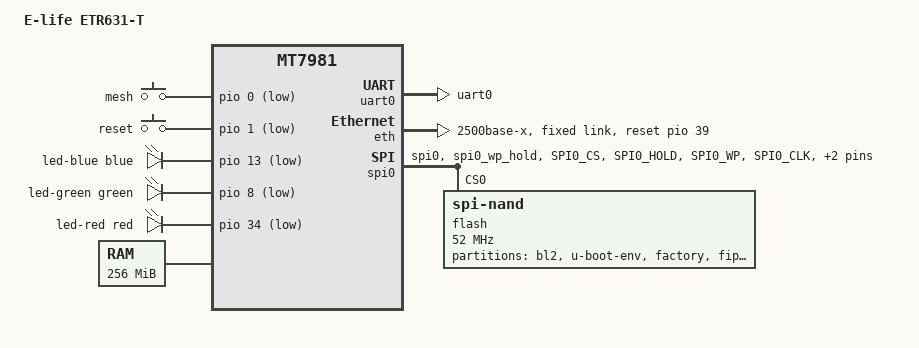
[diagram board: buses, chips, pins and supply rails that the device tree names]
// SPDX-License-Identifier: GPL-2.0

/dts-v1/;

#include "mt7981.dtsi"

#include <dt-bindings/gpio/gpio.h>
#include <dt-bindings/input/input.h>
#include <dt-bindings/leds/common.h>

/ {
	compatible = "e-life,etr631-t", "mediatek,mt7981";
	model = "E-life ETR631-T";

	chosen {
		stdout-path = &uart0;
		tick-timer = &timer0;
	};

	config {
		boot-btn1 = "reset";
		boot-btn2 = "mesh";
		boot-led1 = "green:status";
		boot-led2 = "red:status";
		bootcmd_1-1 = "tftp_load_initramfs_loop";
		bootcmd_1-2 = "tftp_restore_system_loop";
		bootcmd_1-3 = "config_netconsole";
		bootcmd_2-1 = "tftp_load_initramfs_loop";
		bootcmd_2-2 = "tftp_restore_system_loop";
		bootcmd_2-3 = "config_netconsole";
	};

	gpio-keys {
		compatible = "gpio-keys";

		button-mesh {
			label = "mesh";
			gpios = <&pio 0 GPIO_ACTIVE_LOW>;
			linux,code = <KEY_WPS_BUTTON>;
		};

		button-reset {
			label = "reset";
			gpios = <&pio 1 GPIO_ACTIVE_LOW>;
			linux,code = <KEY_RESTART>;
		};
	};

	gpio-leds {
		compatible = "gpio-leds";

		led-blue {
			color = <LED_COLOR_ID_BLUE>;
			function = LED_FUNCTION_STATUS;
			gpios = <&pio 13 GPIO_ACTIVE_LOW>;
			default-state = "off";
		};

		led-green {
			color = <LED_COLOR_ID_GREEN>;
			function = LED_FUNCTION_STATUS;
			gpios = <&pio 8 GPIO_ACTIVE_LOW>;
			default-state = "on";
		};

		led-red {
			color = <LED_COLOR_ID_RED>;
			function = LED_FUNCTION_STATUS;
			gpios = <&pio 34 GPIO_ACTIVE_LOW>;
			default-state = "off";
		};
	};

	memory@40000000 {
		device_type = "memory";
		reg = <0x40000000 0x10000000>;
	};
};

&uart0 {
	status = "okay";
	pinctrl-names = "default";
	pinctrl-0 = <&uart0_pins>;
};

&eth {
	status = "okay";
	mediatek,gmac-id = <0>;
	mediatek,switch = "mt7531";
	phy-mode = "2500base-x";
	reset-gpios = <&pio 39 GPIO_ACTIVE_HIGH>;

	fixed-link {
		speed = <2500>;
		full-duplex;
	};
};

&pio {
	spi0_pins: spi0-pins {
		mux {
			function = "flash";
			groups = "spi0", "spi0_wp_hold";
		};

		conf-pu {
			drive-strength = <MTK_DRIVE_4mA>;
			bias-pull-up = <MTK_PUPD_SET_R1R0_11>;
			pins = "SPI0_CS", "SPI0_HOLD", "SPI0_WP";
		};

		conf-pd {
			drive-strength = <MTK_DRIVE_4mA>;
			bias-pull-down = <MTK_PUPD_SET_R1R0_11>;
			pins = "SPI0_CLK", "SPI0_MOSI", "SPI0_MISO";
		};
	};

	uart0_pins: uart0-pins {
		mux {
			function = "uart";
			groups = "uart0";
		};
	};
};

&spi0 {
	status = "okay";
	#address-cells = <1>;
	#size-cells = <0>;
	pinctrl-names = "default";
	pinctrl-0 = <&spi0_pins>;
	enhance_timing;
	dma_ext;
	ipm_design;
	support_quad;
	sample_sel = <0>;
	tick_dly = <2>;

	flash@0 {
		compatible = "spi-nand";
		reg = <0>;
		spi-max-frequency = <52000000>;
		spi-rx-bus-width = <4>;
		spi-tx-bus-width = <4>;

		partitions {
			compatible = "fixed-partitions";
			#address-cells = <1>;
			#size-cells = <1>;

			partition@0 {
				label = "bl2";
				reg = <0x00000000 0x00100000>;
			};

			partition@100000 {
				label = "u-boot-env";
				reg = <0x00100000 0x00080000>;
			};

			partition@160000 {
				label = "factory";
				reg = <0x00180000 0x00200000>;
			};

			partition@380000 {
				label = "fip";
				reg = <0x00380000 0x00200000>;
			};

			partition@580000 {
				label = "ubi";
				reg = <0x00580000 0x07000000>;
			};

			partition@7580000 {
				label = "reserved";
				reg = <0x7580000 0x0280000>;
			};
		};
	};
};

&usbtphy {
	status = "disabled";
};

&xhci {
	status = "disabled";
};
